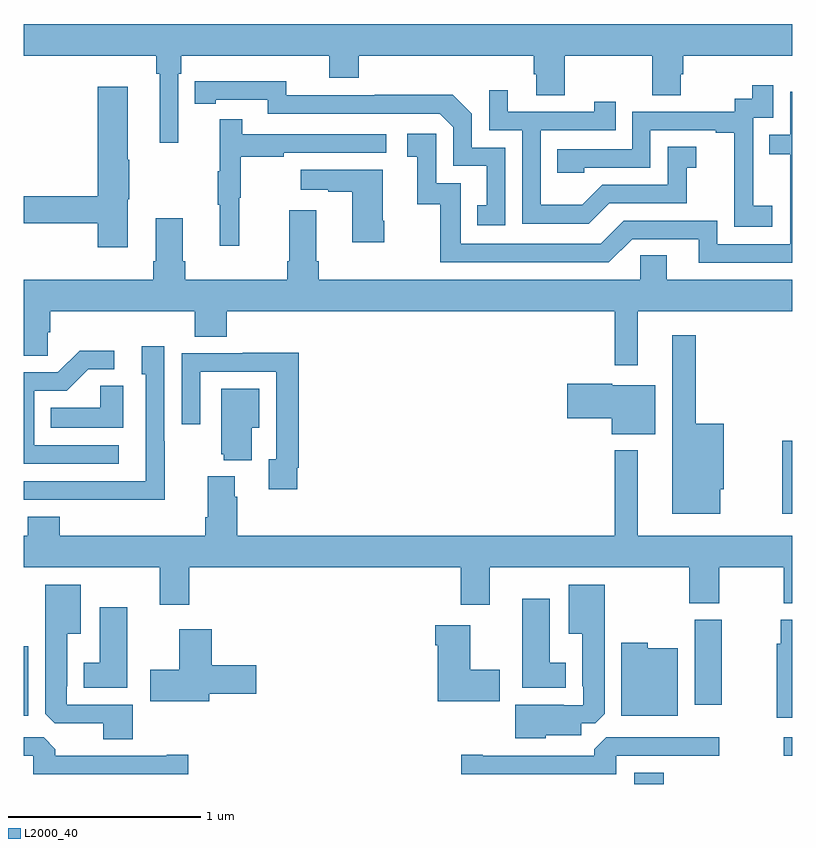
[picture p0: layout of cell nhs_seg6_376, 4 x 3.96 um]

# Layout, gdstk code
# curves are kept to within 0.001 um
import gdstk
lib = gdstk.Library(unit=1e-6, precision=1e-09)
def R(c, l, rs):  # rectangles x0, y0, x1, y1
    for r in rs: c.add(gdstk.rectangle(r[:2], r[2:], *l))
def P(c, l, *ps):  # polygons
    for p in ps: c.add(gdstk.Polygon(p, *l))
L2000_40 = (2000, 40)

nhs_seg6_376 = lib.new_cell('nhs_seg6_376')
R(nhs_seg6_376, L2000_40, [(134.177,987.5,134.33,987.559), (134.955,987.648,135,987.744), (131,987.854,131.023,988.216), (134.492,987.912,134.634,988.356), (134.948,988.907,135,989.287)])
P(nhs_seg6_376, L2000_40, [(131.805,991.196),(131.819,991.196),(131.819,991.292),(132.59,991.292),(132.59,991.175),(132.743,991.175),(132.743,991.292),(133.655,991.292),(133.655,991.194),(133.667,991.194),(133.667,991.084),(133.815,991.084),(133.815,991.292),(134.272,991.292),(134.272,991.084),(134.419,991.084),(134.419,991.194),(134.432,991.194),(134.432,991.292),(135,991.292),(135,991.456),(131,991.456),(131,991.292),(131.689,991.292),(131.689,991.196),(131.708,991.196),(131.708,990.837),(131.805,990.837)],
  [(133.506,990.813),(133.332,990.813),(133.332,990.99),(133.234,991.088),(132.826,991.088),(132.826,991.086),(132.366,991.086),(132.366,991.159),(131.89,991.158),(131.89,991.042),(131.998,991.042),(131.998,991.062),(132.27,991.062),(132.27,990.99),(133.164,990.99),(133.236,990.918),(133.236,990.717),(133.409,990.717),(133.409,990.513),(133.36,990.513),(133.36,990.408),(133.506,990.408)],
  [(134.896,990.511),(134.798,990.511),(134.798,990.74),(134.796,990.74),(134.796,990.969),(134.901,990.969),(134.901,991.138),(134.793,991.138),(134.793,991.068),(134.7,991.068),(134.7,990.999),(134.166,990.999),(134.166,990.804),(133.777,990.804),(133.777,990.681),(133.917,990.681),(133.917,990.708),(134.262,990.708),(134.262,990.903),(134.603,990.903),(134.603,990.891),(134.699,990.891),(134.699,990.607),(134.698,990.607),(134.698,990.401),(134.896,990.401)],
  [(131.542,990.543),(131.55,990.543),(131.55,990.749),(131.542,990.749),(131.542,991.129),(131.384,991.129),(131.384,990.56),(131,990.56),(131,990.418),(131.384,990.418),(131.384,990.294),(131.542,990.294)],
  [(134.047,990.522),(134.451,990.522),(134.451,990.707),(134.5,990.707),(134.5,990.817),(134.352,990.817),(134.352,990.618),(134.01,990.618),(133.906,990.514),(133.692,990.514),(133.692,990.903),(134.081,990.903),(134.081,991.051),(133.97,991.051),(133.97,990.999),(133.519,990.999),(133.519,991.111),(133.422,991.111),(133.422,990.903),(133.596,990.903),(133.596,990.417),(133.942,990.417)],
  [(135,991.104),(134.991,991.104),(134.991,990.879),(134.881,990.879),(134.881,990.778),(134.991,990.778),(134.991,990.309),(134.61,990.309),(134.61,990.432),(134.124,990.432),(134.004,990.312),(133.275,990.312),(133.275,990.627),(133.146,990.627),(133.146,990.886),(132.996,990.886),(132.996,990.765),(133.049,990.765),(133.049,990.519),(133.167,990.519),(133.167,990.216),(134.046,990.216),(134.166,990.336),(134.513,990.336),(134.513,990.213),(135,990.213)],
  [(132.122,990.552),(132.13,990.552),(132.13,990.766),(132.353,990.766),(132.353,990.786),(132.886,990.786),(132.886,990.882),(132.137,990.882),(132.137,990.961),(132.02,990.961),(132.02,990.689),(132.009,990.689),(132.009,990.515),(132.02,990.515),(132.02,990.303),(132.122,990.303)],
  [(132.876,990.433),(132.868,990.433),(132.868,990.697),(132.441,990.697),(132.441,990.593),(132.584,990.593),(132.584,990.583),(132.71,990.583),(132.71,990.321),(132.876,990.321)],
  [(134.197,989.96),(135,989.96),(135,990.124),(134.347,990.124),(134.347,990.251),(134.208,990.251),(134.208,990.124),(132.536,990.124),(132.536,990.22),(132.523,990.22),(132.523,990.487),(132.383,990.487),(132.383,990.22),(132.371,990.22),(132.371,990.124),(131.84,990.124),(131.84,990.22),(131.827,990.22),(131.827,990.445),(131.687,990.445),(131.687,990.22),(131.675,990.22),(131.675,990.124),(131,990.124),(131,989.728),(131.124,989.728),(131.124,989.851),(131.138,989.851),(131.138,989.96),(131.891,989.96),(131.891,989.827),(132.056,989.827),(132.056,989.96),(134.076,989.96),(134.076,989.679),(134.197,989.679)],
  [(134.626,989.034),(134.644,989.034),(134.644,989.374),(134.497,989.374),(134.497,989.836),(134.375,989.836),(134.375,988.907),(134.626,988.907)],
  [(131.733,989.285),(131.73,989.285),(131.73,989.779),(131.615,989.779),(131.615,989.634),(131.634,989.634),(131.634,989.076),(131,989.076),(131,988.98),(131.269,988.98),(131.269,988.979),(131.733,988.979)],
  [(131.494,989.262),(131.055,989.262),(131.055,989.547),(131.224,989.547),(131.335,989.658),(131.47,989.658),(131.47,989.756),(131.291,989.756),(131.178,989.643),(131,989.643),(131,989.166),(131.494,989.166)],
  [(132.424,989.146),(132.431,989.146),(132.431,989.744),(132.139,989.744),(132.139,989.742),(131.823,989.742),(131.823,989.373),(131.919,989.373),(131.919,989.646),(132.315,989.646),(132.315,989.19),(132.275,989.19),(132.275,989.034),(132.424,989.034)],
  [(134.287,989.575),(134.064,989.575),(134.064,989.583),(133.83,989.583),(133.83,989.405),(134.06,989.405),(134.06,989.321),(134.287,989.321)],
  [(131.518,989.573),(131.397,989.573),(131.397,989.458),(131.14,989.458),(131.14,989.354),(131.518,989.354)],
  [(132.187,989.354),(132.226,989.354),(132.226,989.557),(132.029,989.557),(132.029,989.217),(132.041,989.217),(132.041,989.186),(132.187,989.186)],
  [(134.197,989.236),(134.076,989.236),(134.076,988.792),(132.11,988.792),(132.11,988.994),(132.097,988.994),(132.097,989.101),(131.957,989.101),(131.957,988.888),(131.945,988.888),(131.945,988.792),(131.186,988.792),(131.186,988.891),(131.021,988.891),(131.021,988.792),(131,988.792),(131,988.628),(131.708,988.628),(131.708,988.434),(131.861,988.434),(131.861,988.628),(133.274,988.628),(133.274,988.434),(133.426,988.434),(133.426,988.628),(134.464,988.628),(134.464,988.441),(134.619,988.441),(134.619,988.628),(134.956,988.628),(134.956,988.441),(135,988.441),(135,988.792),(134.197,988.792)],
  [(131.567,987.912),(131.223,987.912),(131.223,988.009),(131.227,988.009),(131.227,988.283),(131.296,988.283),(131.296,988.537),(131.111,988.537),(131.111,987.865),(131.16,987.816),(131.414,987.816),(131.414,987.733),(131.567,987.733)],
  [(133.716,987.755),(133.903,987.755),(133.903,987.816),(133.974,987.816),(134.023,987.865),(134.023,988.537),(133.838,988.537),(133.838,988.283),(133.907,988.283),(133.907,988.009),(133.911,988.009),(133.911,987.909),(133.811,987.909),(133.811,987.913),(133.559,987.913),(133.559,987.737),(133.716,987.737)],
  [(133.822,988.132),(133.738,988.132),(133.738,988.465),(133.595,988.465),(133.595,988.001),(133.822,988.001)],
  [(131.539,988.42),(131.396,988.42),(131.396,988.132),(131.312,988.132),(131.312,988.001),(131.539,988.001)],
  [(135,988.356),(134.941,988.356),(134.941,988.23),(134.92,988.23),(134.92,987.846),(135,987.846)],
  [(133.477,988.095),(133.324,988.095),(133.324,988.327),(133.142,988.327),(133.142,988.223),(133.154,988.223),(133.154,987.932),(133.477,987.932)],
  [(131.965,987.971),(132.211,987.971),(132.211,988.118),(131.978,988.118),(131.978,988.306),(131.81,988.306),(131.81,988.095),(131.658,988.095),(131.658,987.932),(131.965,987.932)],
  [(134.404,988.207),(134.247,988.207),(134.247,988.234),(134.111,988.234),(134.111,987.854),(134.404,987.854)],
  [(134.085,987.648),(134.62,987.648),(134.62,987.744),(134.031,987.744),(134.005,987.718),(133.97,987.682),(133.97,987.648),(133.39,987.648),(133.39,987.653),(133.278,987.653),(133.278,987.552),(134.085,987.552)],
  [(131.857,987.653),(131.744,987.653),(131.744,987.648),(131.165,987.648),(131.165,987.682),(131.103,987.744),(131,987.744),(131,987.648),(131.049,987.648),(131.049,987.552),(131.857,987.552)])

lib.write_gds('nhs_seg6_376.gds')
